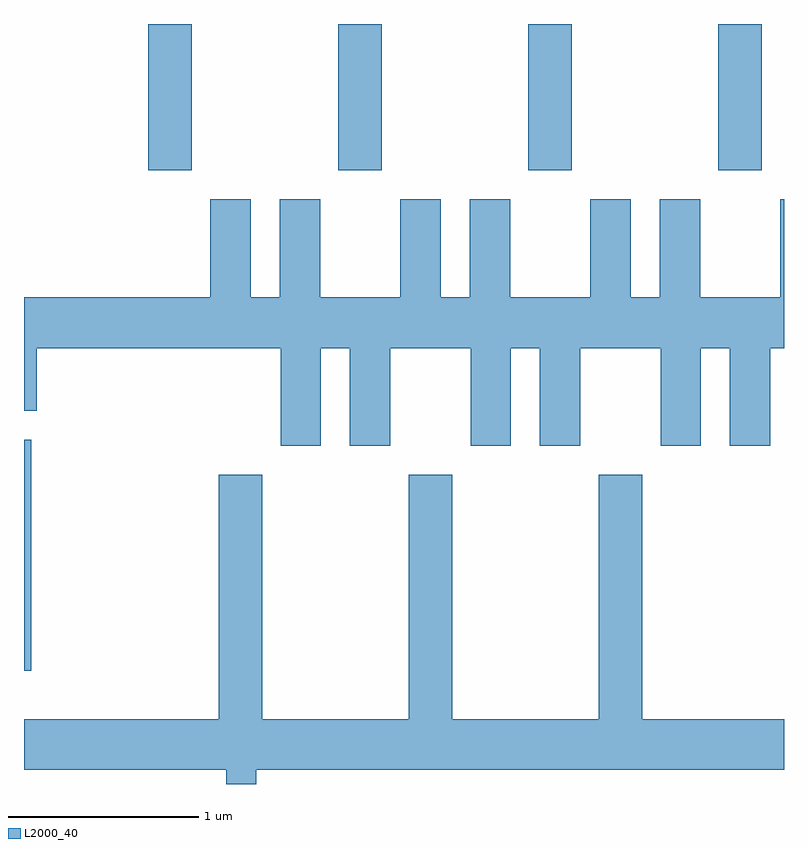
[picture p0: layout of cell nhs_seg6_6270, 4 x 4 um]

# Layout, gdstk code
import gdstk
lib = gdstk.Library(unit=1e-6, precision=1e-09)
def R(c, l, rs):  # rectangles x0, y0, x1, y1
    for r in rs: c.add(gdstk.rectangle(r[:2], r[2:], *l))
def A(c, l, x, y, w, h, nx, ny, dx, dy):  # array of equal rectangles
    R(c, l, [(x+i*dx, y+j*dy, x+i*dx+w, y+j*dy+h) for i in range(nx) for j in range(ny)])
def P(c, l, *ps):  # polygons
    for p in ps: c.add(gdstk.Polygon(p, *l))
L2000_40 = (2000, 40)

nhs_seg6_6270 = lib.new_cell('nhs_seg6_6270')
A(nhs_seg6_6270, L2000_40, 376.266, 1575.391, 0.228, 0.771, 4, 1, 1, 0)
R(nhs_seg6_6270, L2000_40, [(375.611,1572.758,375.649,1573.974)])
P(nhs_seg6_6270, L2000_40, [(377.174,1574.456),(377.326,1574.456),(377.326,1573.941),(377.539,1573.941),(377.539,1574.456),(377.961,1574.456),(377.961,1573.941),(378.174,1573.941),(378.174,1574.456),(378.326,1574.456),(378.326,1573.941),(378.539,1573.941),(378.539,1574.456),(378.961,1574.456),(378.961,1573.941),(379.174,1573.941),(379.174,1574.456),(379.326,1574.456),(379.326,1573.941),(379.539,1573.941),(379.539,1574.456),(379.611,1574.456),(379.611,1575.239),(379.591,1575.239),(379.591,1574.724),(379.169,1574.724),(379.169,1575.239),(378.956,1575.239),(378.956,1574.724),(378.804,1574.724),(378.804,1575.239),(378.591,1575.239),(378.591,1574.724),(378.169,1574.724),(378.169,1575.239),(377.956,1575.239),(377.956,1574.724),(377.804,1574.724),(377.804,1575.239),(377.591,1575.239),(377.591,1574.724),(377.169,1574.724),(377.169,1575.239),(376.956,1575.239),(376.956,1574.724),(376.804,1574.724),(376.804,1575.239),(376.591,1575.239),(376.591,1574.724),(375.611,1574.724),(375.611,1574.126),(375.679,1574.126),(375.679,1574.456),(376.961,1574.456),(376.961,1573.941),(377.174,1573.941)],
  [(376.834,1572.236),(379.611,1572.236),(379.611,1572.504),(378.864,1572.504),(378.864,1573.789),(378.636,1573.789),(378.636,1572.504),(377.864,1572.504),(377.864,1573.789),(377.636,1573.789),(377.636,1572.504),(376.864,1572.504),(376.864,1573.789),(376.636,1573.789),(376.636,1572.504),(375.611,1572.504),(375.611,1572.236),(376.676,1572.236),(376.676,1572.162),(376.834,1572.162)])

lib.write_gds('nhs_seg6_6270.gds')
